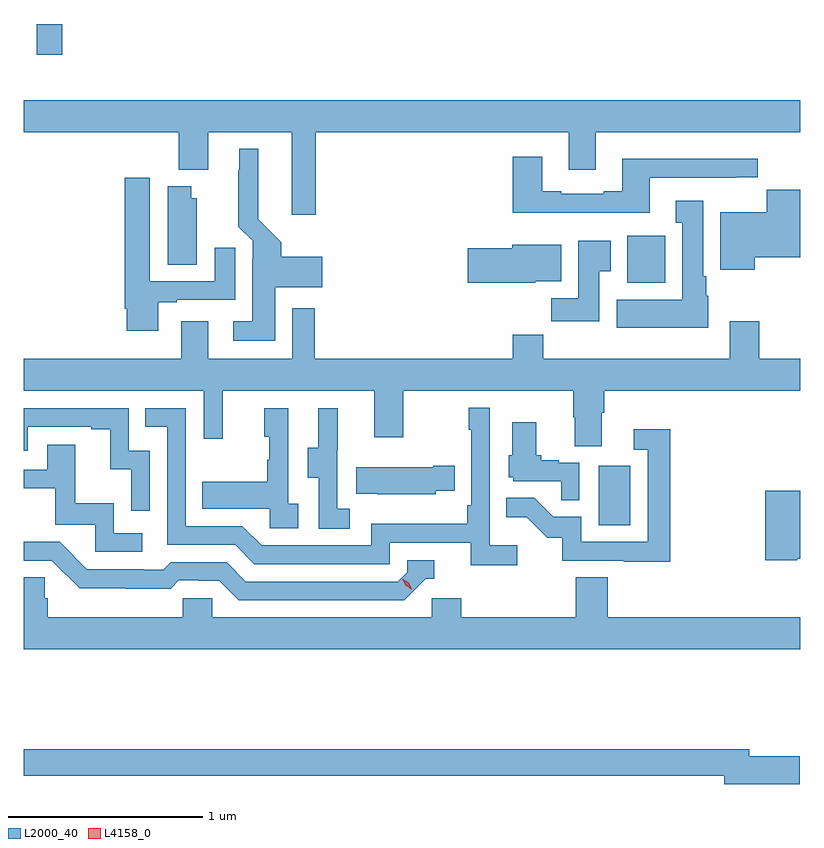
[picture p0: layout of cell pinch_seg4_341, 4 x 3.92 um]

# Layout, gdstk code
import gdstk
lib = gdstk.Library(unit=1e-6, precision=1e-09)
def R(c, l, rs):  # rectangles x0, y0, x1, y1
    for r in rs: c.add(gdstk.rectangle(r[:2], r[2:], *l))
def P(c, l, *ps):  # polygons
    for p in ps: c.add(gdstk.Polygon(p, *l))
L2000_40 = (2000, 40)
L4158_0 = (4158, 0)

pinch_seg4_341 = lib.new_cell('pinch_seg4_341')
R(pinch_seg4_341, L2000_40, [(999.416,802.788,999.58,803.095), (999.563,804.038,999.76,804.28), (996.521,805.212,996.653,805.37)])
P(pinch_seg4_341, L2000_40, [(997.958,804.812),(999.263,804.812),(999.263,804.618),(999.403,804.618),(999.403,804.812),(1000.455,804.812),(1000.455,804.976),(996.455,804.976),(996.455,804.812),(997.253,804.812),(997.253,804.62),(997.405,804.62),(997.405,804.812),(997.835,804.812),(997.835,804.387),(997.958,804.387)],
  [(997.75,804.014),(997.993,804.014),(997.993,804.172),(997.781,804.172),(997.781,804.246),(997.663,804.364),(997.663,804.727),(997.565,804.727),(997.565,804.617),(997.561,804.617),(997.561,804.326),(997.635,804.252),(997.635,804.158),(997.631,804.158),(997.631,803.839),(997.533,803.839),(997.533,803.738),(997.75,803.738)],
  [(999.679,804.579),(1000.127,804.579),(1000.127,804.581),(1000.236,804.581),(1000.236,804.676),(999.539,804.676),(999.539,804.508),(999.443,804.508),(999.443,804.495),(999.223,804.495),(999.223,804.508),(999.127,804.508),(999.127,804.685),(998.975,804.685),(998.975,804.398),(999.679,804.398)],
  [(997.147,803.937),(997.243,803.937),(997.243,803.949),(997.543,803.949),(997.543,804.217),(997.439,804.217),(997.439,804.045),(997.105,804.045),(997.105,804.577),(996.974,804.577),(996.974,803.902),(996.986,803.902),(996.986,803.79),(997.147,803.79)],
  [(997.345,804.471),(997.318,804.471),(997.318,804.535),(997.196,804.535),(997.196,804.13),(997.345,804.13)],
  [(1000.222,804.167),(1000.455,804.167),(1000.455,804.516),(1000.283,804.516),(1000.283,804.4),(1000.043,804.4),(1000.043,804.104),(1000.222,804.104)],
  [(999.982,803.97),(999.97,803.97),(999.97,804.07),(999.955,804.07),(999.955,804.46),(999.815,804.46),(999.815,804.347),(999.848,804.347),(999.848,803.95),(999.509,803.95),(999.509,803.804),(999.982,803.804)],
  [(999.421,804.097),(999.478,804.097),(999.478,804.253),(999.311,804.253),(999.311,803.956),(999.172,803.956),(999.172,803.838),(999.421,803.838)],
  [(999.09,804.044),(999.223,804.044),(999.223,804.232),(998.972,804.232),(998.972,804.215),(998.742,804.215),(998.742,804.038),(999.09,804.038)],
  [(999.433,803.368),(999.446,803.368),(999.446,803.48),(1000.455,803.48),(1000.455,803.644),(1000.244,803.644),(1000.244,803.839),(1000.091,803.839),(1000.091,803.644),(999.131,803.644),(999.131,803.768),(998.975,803.768),(998.975,803.644),(997.955,803.644),(997.955,803.905),(997.839,803.905),(997.839,803.644),(997.405,803.644),(997.405,803.839),(997.265,803.839),(997.265,803.644),(996.455,803.644),(996.455,803.48),(997.383,803.48),(997.383,803.232),(997.481,803.232),(997.481,803.48),(998.261,803.48),(998.261,803.241),(998.409,803.241),(998.409,803.48),(999.286,803.48),(999.286,803.343),(999.293,803.343),(999.293,803.194),(999.433,803.194)],
  [(998.998,802.684),(998.856,802.684),(998.856,803.392),(998.748,803.392),(998.748,803.279),(998.76,803.279),(998.76,802.891),(998.74,802.891),(998.74,802.795),(998.244,802.795),(998.244,802.683),(997.68,802.683),(997.581,802.782),(997.29,802.782),(997.29,803.391),(997.081,803.391),(997.081,803.295),(997.194,803.295),(997.194,802.686),(997.544,802.686),(997.643,802.587),(998.34,802.587),(998.34,802.698),(998.759,802.698),(998.759,802.582),(998.998,802.582)],
  [(997.104,803.172),(996.996,803.172),(996.996,803.391),(996.455,803.391),(996.455,803.172),(996.474,803.172),(996.474,803.295),(996.803,803.295),(996.803,803.283),(996.899,803.283),(996.899,803.075),(997.008,803.075),(997.008,802.863),(997.104,802.863)],
  [(997.87,802.898),(997.818,802.898),(997.818,803.389),(997.694,803.389),(997.694,803.244),(997.72,803.244),(997.72,803.126),(997.71,803.126),(997.71,803.011),(997.375,803.011),(997.375,802.871),(997.722,802.871),(997.722,802.773),(997.87,802.773)],
  [(998.134,802.871),(998.07,802.871),(998.07,803.175),(998.072,803.175),(998.072,803.389),(997.973,803.389),(997.973,803.187),(997.919,803.187),(997.919,803.032),(997.974,803.032),(997.974,802.768),(998.134,802.768)],
  [(999.318,803.109),(999.212,803.109),(999.212,803.122),(999.12,803.122),(999.12,803.148),(999.094,803.148),(999.094,803.317),(998.972,803.317),(998.972,803.148),(998.954,803.148),(998.954,803.034),(998.976,803.034),(998.976,803.013),(999.223,803.013),(999.223,802.915),(999.318,802.915)],
  [(999.785,803.281),(999.597,803.281),(999.597,803.175),(999.669,803.175),(999.669,802.701),(999.327,802.701),(999.327,802.83),(999.183,802.83),(999.085,802.928),(998.941,802.928),(998.941,802.829),(999.045,802.829),(999.152,802.722),(999.229,802.722),(999.229,802.605),(999.547,802.605),(999.547,802.6),(999.785,802.6)],
  [(997.066,802.746),(996.918,802.746),(996.918,802.9),(996.719,802.9),(996.719,803.203),(996.575,803.203),(996.575,803.073),(996.455,803.073),(996.455,802.977),(996.617,802.977),(996.617,802.791),(996.822,802.791),(996.822,802.65),(997.066,802.65)],
  [(998.577,802.964),(998.675,802.964),(998.675,803.094),(998.564,803.094),(998.564,803.086),(998.167,803.086),(998.167,802.949),(998.275,802.949),(998.275,802.946),(998.577,802.946)],
  [(1000.44,802.614),(1000.455,802.614),(1000.455,802.966),(1000.274,802.966),(1000.274,802.606),(1000.44,802.606)],
  [(998.526,802.512),(998.569,802.512),(998.569,802.608),(998.43,802.608),(998.43,802.545),(998.382,802.497),(997.599,802.497),(997.5,802.596),(997.211,802.596),(997.172,802.557),(997.073,802.557),(997.073,802.56),(996.78,802.56),(996.639,802.701),(996.455,802.701),(996.455,802.605),(996.6,802.605),(996.742,802.463),(996.978,802.463),(996.978,802.461),(997.211,802.461),(997.253,802.503),(997.356,802.503),(997.356,802.5),(997.463,802.5),(997.562,802.401),(998.415,802.401)],
  [(1000.455,802.312),(999.464,802.312),(999.464,802.52),(999.299,802.52),(999.299,802.312),(998.708,802.312),(998.708,802.41),(998.556,802.41),(998.556,802.312),(997.425,802.312),(997.425,802.41),(997.275,802.41),(997.275,802.312),(996.578,802.312),(996.578,802.41),(996.563,802.41),(996.563,802.52),(996.455,802.52),(996.455,802.148),(1000.455,802.148)],
  [(1000.453,801.596),(1000.192,801.596),(1000.192,801.632),(996.455,801.632),(996.455,801.496),(1000.064,801.496),(1000.064,801.454),(1000.453,801.454)])
P(pinch_seg4_341, L4158_0, [(998.452,802.458),(998.422,802.478),(998.406,802.511),(998.406,802.511),(998.406,802.511),(998.437,802.491),(998.453,802.459),(998.453,802.458)])

lib.write_gds('pinch_seg4_341.gds')
